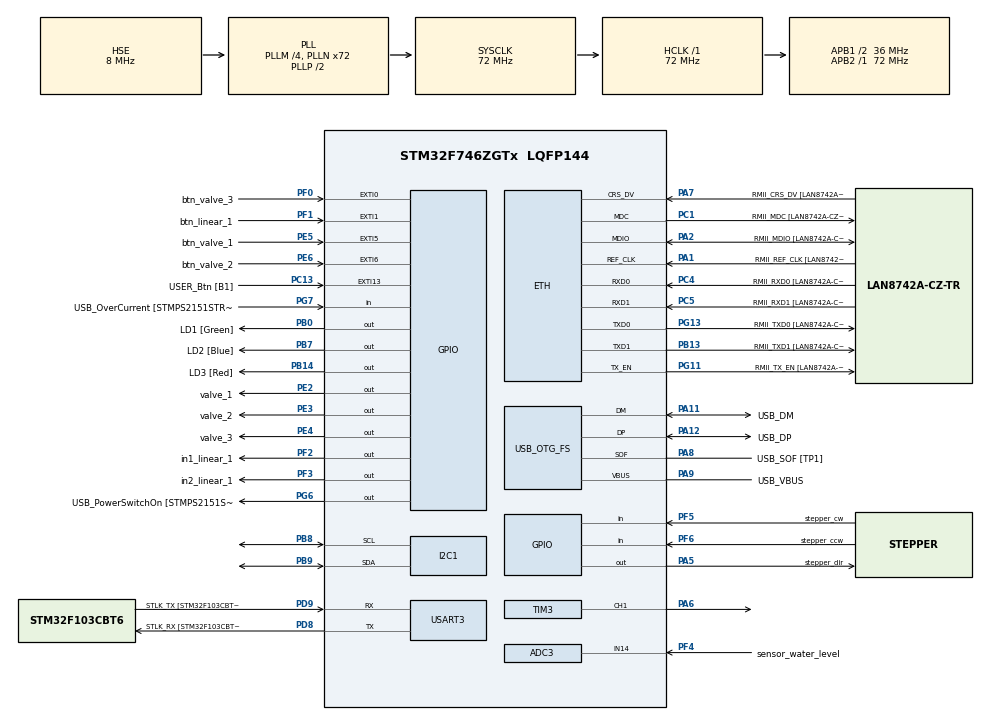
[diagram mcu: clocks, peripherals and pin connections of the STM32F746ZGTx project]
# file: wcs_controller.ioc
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ADC3.Channel-0\#ChannelRegularConversion=ADC_CHANNEL_14
ADC3.EnableAnalogWatchDog=false
ADC3.NbrOfConversionFlag=1
ADC3.Rank-0\#ChannelRegularConversion=1
ADC3.SamplingTime-0\#ChannelRegularConversion=ADC_SAMPLETIME_480CYCLES
CORTEX_M7.default_mode_Activation=1
ETH.MediaInterface=HAL_ETH_RMII_MODE
ETH.PHY_Name=LAN8742A_PHY_ADDRESS
ETH.PHY_Value=0
ETH.PhyAddress=0
I2C1.Timing=0x00808CD2
Mcu.Family=STM32F7
Mcu.Name=STM32F746ZGTx
Mcu.Package=LQFP144
NVIC.EXTI0_IRQn=true\:0\:0\:false\:false\:true\:true\:true\:true
NVIC.EXTI1_IRQn=true\:0\:0\:false\:false\:true\:true\:true\:true
NVIC.EXTI9_5_IRQn=true\:0\:0\:false\:false\:true\:true\:true\:true
NVIC.PriorityGroup=NVIC_PRIORITYGROUP_4
NVIC.TIM3_IRQn=true\:0\:0\:false\:false\:true\:true\:true\:true
PA1.GPIO_Label=RMII_REF_CLK [LAN8742A-CZ-TR_REFCLK0]
PA1.Mode=RMII
PA1.Signal=ETH_REF_CLK
PA10.GPIO_Label=USB_ID
PA10.Signal=USB_OTG_FS_ID
PA11.GPIO_Label=USB_DM
PA11.Mode=Device_Only
PA11.Signal=USB_OTG_FS_DM
PA12.GPIO_Label=USB_DP
PA12.Mode=Device_Only
PA12.Signal=USB_OTG_FS_DP
PA13.GPIO_Label=TMS
PA13.Mode=Serial_Wire
PA13.Signal=SYS_JTMS-SWDIO
PA14.GPIO_Label=TCK
PA14.Mode=Serial_Wire
PA14.Signal=SYS_JTCK-SWCLK
PA2.GPIO_Label=RMII_MDIO [LAN8742A-CZ-TR_MDIO]
PA2.Mode=RMII
PA2.Signal=ETH_MDIO
PA5.GPIO_Label=stepper_dir
PA5.Signal=GPIO_Output
PA6.Signal=S_TIM3_CH1
PA7.GPIO_Label=RMII_CRS_DV [LAN8742A-CZ-TR_CRS_DV]
PA7.Mode=RMII
PA7.Signal=ETH_CRS_DV
PA8.GPIO_Label=USB_SOF [TP1]
PA8.Mode=Activate_SOF_FS
PA8.Signal=USB_OTG_FS_SOF
PA9.GPIO_Label=USB_VBUS
PA9.Mode=Activate_VBUS
PA9.Signal=USB_OTG_FS_VBUS
PB0.GPIO_Label=LD1 [Green]
PB0.Signal=GPIO_Output
PB13.GPIO_Label=RMII_TXD1 [LAN8742A-CZ-TR_TXD1]
PB13.Mode=RMII
PB13.Signal=ETH_TXD1
PB14.GPIO_Label=LD3 [Red]
PB14.PinState=GPIO_PIN_RESET
PB14.Signal=GPIO_Output
PB3.GPIO_Label=SW0
PB3.Signal=SYS_JTDO-SWO
PB7.GPIO_Label=LD2 [Blue]
PB7.Signal=GPIO_Output
PB8.Mode=I2C
PB8.Signal=I2C1_SCL
PB9.Mode=I2C
PB9.Signal=I2C1_SDA
PC1.GPIO_Label=RMII_MDC [LAN8742A-CZ-TR_MDC]
PC1.Mode=RMII
PC1.Signal=ETH_MDC
PC13.GPIO_Label=USER_Btn [B1]
PC13.Signal=GPXTI13
PC14/OSC32_IN.Mode=LSE-External-Oscillator
PC14/OSC32_IN.Signal=RCC_OSC32_IN
PC15/OSC32_OUT.Mode=LSE-External-Oscillator
PC15/OSC32_OUT.Signal=RCC_OSC32_OUT
PC4.GPIO_Label=RMII_RXD0 [LAN8742A-CZ-TR_RXD0]
PC4.Mode=RMII
PC4.Signal=ETH_RXD0
PC5.GPIO_Label=RMII_RXD1 [LAN8742A-CZ-TR_RXD1]
PC5.Mode=RMII
PC5.Signal=ETH_RXD1
PD8.GPIO_Label=STLK_RX [STM32F103CBT6_PA3]
PD8.GPIO_PuPd=GPIO_PULLUP
PD8.Mode=Asynchronous
PD8.Signal=USART3_TX
PD9.GPIO_Label=STLK_TX [STM32F103CBT6_PA2]
PD9.GPIO_PuPd=GPIO_PULLUP
PD9.Mode=Asynchronous
PD9.Signal=USART3_RX
PE2.GPIO_Label=valve_1
PE2.GPIO_PuPd=GPIO_PULLDOWN
PE2.Signal=GPIO_Output
PE3.GPIO_Label=valve_2
PE3.GPIO_PuPd=GPIO_PULLDOWN
PE3.Signal=GPIO_Output
PE4.GPIO_Label=valve_3
PE4.GPIO_PuPd=GPIO_PULLDOWN
PE4.Signal=GPIO_Output
PE5.GPIO_Label=btn_valve_1
PE5.GPIO_ModeDefaultEXTI=GPIO_MODE_IT_RISING_FALLING
PE5.GPIO_PuPd=GPIO_PULLDOWN
PE5.Signal=GPXTI5
PE6.GPIO_Label=btn_valve_2
PE6.GPIO_ModeDefaultEXTI=GPIO_MODE_IT_RISING_FALLING
PE6.GPIO_PuPd=GPIO_PULLDOWN
PE6.Signal=GPXTI6
PF0.GPIO_Label=btn_valve_3
PF0.GPIO_ModeDefaultEXTI=GPIO_MODE_IT_RISING_FALLING
PF0.GPIO_PuPd=GPIO_PULLDOWN
PF0.Signal=GPXTI0
PF1.GPIO_Label=btn_linear_1
PF1.GPIO_ModeDefaultEXTI=GPIO_MODE_IT_RISING_FALLING
PF1.GPIO_PuPd=GPIO_PULLDOWN
PF1.Signal=GPXTI1
PF2.GPIO_Label=in1_linear_1
PF2.GPIO_PuPd=GPIO_PULLDOWN
PF2.Signal=GPIO_Output
PF3.GPIO_Label=in2_linear_1
PF3.GPIO_PuPd=GPIO_PULLDOWN
PF3.Signal=GPIO_Output
PF4.GPIO_Label=sensor_water_level
PF4.Mode=IN14
PF4.Signal=ADC3_IN14
PF5.GPIO_Label=stepper_cw
PF5.GPIO_PuPd=GPIO_PULLDOWN
PF5.Signal=GPIO_Input
PF6.GPIO_Label=stepper_ccw
PF6.GPIO_PuPd=GPIO_PULLDOWN
PF6.Signal=GPIO_Input
PG11.GPIO_Label=RMII_TX_EN [LAN8742A-CZ-TR_TXEN]
PG11.Mode=RMII
PG11.Signal=ETH_TX_EN
PG13.GPIO_Label=RMII_TXD0 [LAN8742A-CZ-TR_TXD0]
PG13.Mode=RMII
PG13.Signal=ETH_TXD0
PG6.GPIO_Label=USB_PowerSwitchOn [STMPS2151STR_EN]
PG6.Signal=GPIO_Output
PG7.GPIO_Label=USB_OverCurrent [STMPS2151STR_FAULT]
PG7.Signal=GPIO_Input
PH0/OSC_IN.GPIO_Label=MCO [STM32F103CBT6_PA8]
PH0/OSC_IN.Mode=HSE-External-Clock-Source
PH0/OSC_IN.Signal=RCC_OSC_IN
PH1/OSC_OUT.Mode=HSE-External-Clock-Source
PH1/OSC_OUT.Signal=RCC_OSC_OUT
ProjectManager.HeapSize=0x200
ProjectManager.StackSize=0x400
ProjectManager.TargetToolchain=CMake
RCC.48MHZClocksFreq_Value=24000000
RCC.AHBFreq_Value=72000000
RCC.APB1CLKDivider=RCC_HCLK_DIV2
RCC.APB1Freq_Value=36000000
RCC.APB1TimFreq_Value=72000000
RCC.APB2Freq_Value=72000000
RCC.APB2TimFreq_Value=72000000
RCC.CortexFreq_Value=72000000
RCC.HCLKFreq_Value=72000000
RCC.HSE_VALUE=8000000
RCC.HSI_VALUE=16000000
RCC.PLLM=4
RCC.PLLMUL=RCC_PLL_MUL9
RCC.PLLN=72
RCC.PLLQ=3
RCC.PRESCALERUSB=RCC_USBCLKSOURCE_PLL_DIV1_5
RCC.SYSCLKFreq_VALUE=72000000
RCC.SYSCLKSource=RCC_SYSCLKSOURCE_PLLCLK
RCC.SYSCLKSourceVirtual=RCC_SYSCLKSOURCE_PLLCLK
RCC.USBFreq_Value=48000000
RCC.VCOOutputFreq_Value=144000000
SH.S_TIM3_CH1.0=TIM3_CH1,PWM Generation1 CH1
TIM3.Channel-PWM\ Generation1\ CH1=TIM_CHANNEL_1
TIM3.OCPolarity_1=TIM_OCPOLARITY_HIGH
TIM3.Period=9999
TIM3.Prescaler=71
TIM3.Pulse-PWM\ Generation1\ CH1=10
USART3.VirtualMode-Asynchronous=VM_ASYNC
USB_OTG_FS.VirtualMode=Device_Only
VP_TIM3_VS_ClockSourceINT.Mode=Internal
board=NUCLEO-F746ZG

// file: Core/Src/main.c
/* USER CODE BEGIN Header */
/**
  ******************************************************************************
  * @file           : main.c
  * @brief          : Main program body
  ******************************************************************************
  * @attention
  *
  * Copyright (c) 2026 STMicroelectronics.
  * All rights reserved.
  *
  * This software is licensed under terms that can be found in the LICENSE file
  * in the root directory of this software component.
  * If no LICENSE file comes with this software, it is provided AS-IS.
  *
  ******************************************************************************
  */
/* USER CODE END Header */
#include "main.h"
#include "string.h"

/* USER CODE BEGIN Includes */
#include "actuators/valve_controller.h"
#include "actuators/linear_actuator_controller.h"
#include "actuators/linear_actuator_manual_control.h"
#include "fw_version.h"
#include "peripherals/water_sensor.h"
#include "peripherals/water_sensor_adc.h"
#include "peripherals/water_sensor_telemetry.h"
#include "actuators/stepper_controller.h"
#include "actuators/stepper_button_control.h"
/* USER CODE END Includes */

/* USER CODE BEGIN PTD */
typedef struct
{
  GPIO_TypeDef *input_port;
  uint16_t input_pin;
  ValveId valve;
  volatile GPIO_PinState candidate;
  GPIO_PinState stable;
  volatile uint32_t changed_at;
  volatile uint32_t pending;
} ValveSwitch;
/* USER CODE END PTD */

/* USER CODE BEGIN PD */
#define VALVE_DEBOUNCE_MS 30U
#define LED_INTERVAL_MS 250U
/* USER CODE END PD */

#if defined ( __ICCARM__ ) /*!< IAR Compiler */
#pragma location=0x2004c000
ETH_DMADescTypeDef  DMARxDscrTab[ETH_RX_DESC_CNT]; /* Ethernet Rx DMA Descriptors */
#pragma location=0x2004c0a0
ETH_DMADescTypeDef  DMATxDscrTab[ETH_TX_DESC_CNT]; /* Ethernet Tx DMA Descriptors */

#elif defined ( __CC_ARM )  /* MDK ARM Compiler */

__attribute__((at(0x2004c000))) ETH_DMADescTypeDef  DMARxDscrTab[ETH_RX_DESC_CNT]; /* Ethernet Rx DMA Descriptors */
__attribute__((at(0x2004c0a0))) ETH_DMADescTypeDef  DMATxDscrTab[ETH_TX_DESC_CNT]; /* Ethernet Tx DMA Descriptors */

#elif defined ( __GNUC__ ) /* GNU Compiler */

ETH_DMADescTypeDef DMARxDscrTab[ETH_RX_DESC_CNT] __attribute__((section(".RxDecripSection"))); /* Ethernet Rx DMA Descriptors */
ETH_DMADescTypeDef DMATxDscrTab[ETH_TX_DESC_CNT] __attribute__((section(".TxDecripSection")));   /* Ethernet Tx DMA Descriptors */
#endif

ETH_TxPacketConfig TxConfig;

ADC_HandleTypeDef hadc3;

ETH_HandleTypeDef heth;

I2C_HandleTypeDef hi2c1;

TIM_HandleTypeDef htim3;

UART_HandleTypeDef huart3;

PCD_HandleTypeDef hpcd_USB_OTG_FS;

/* USER CODE BEGIN PV */
static ValveSwitch valve_switches[] =
{
  {btn_valve_1_GPIO_Port, btn_valve_1_Pin, VALVE_1,
   GPIO_PIN_RESET, GPIO_PIN_RESET, 0U, 0U},
  {btn_valve_2_GPIO_Port, btn_valve_2_Pin, VALVE_2,
   GPIO_PIN_RESET, GPIO_PIN_RESET, 0U, 0U},
  {btn_valve_3_GPIO_Port, btn_valve_3_Pin, VALVE_3,
   GPIO_PIN_RESET, GPIO_PIN_RESET, 0U, 0U}
};
static uint32_t led_changed_at;
static uint32_t water_led_changed_at;
static bool valve1_sequence_active;
/* USER CODE END PV */

void SystemClock_Config(void);
static void MPU_Config(void);
static void MX_GPIO_Init(void);
static void MX_ETH_Init(void);
static void MX_I2C1_Init(void);
static void MX_USART3_UART_Init(void);
static void MX_USB_OTG_FS_PCD_Init(void);
static void MX_ADC3_Init(void);
static void MX_TIM3_Init(void);

/* USER CODE BEGIN 0 */
__attribute__((used)) const char fw_version_banner[] =
    "wcs_controller " FW_VERSION_STRING " (" FW_GIT_COMMIT_STRING ", "
    FW_BUILD_TYPE_STRING ")";

void HAL_TIM_PWM_PulseFinishedCallback(TIM_HandleTypeDef *htim)
{
  if (htim == &htim3)
  {
    Stepper_OnPwmPulse();
  }
}

/* Called by the generated EXTI handlers through the HAL. No delays or relay
 * writes belong here: each edge simply restarts the debounce interval. */
void HAL_GPIO_EXTI_Callback(uint16_t GPIO_Pin)
{
  if (GPIO_Pin == btn_linear_1_Pin)
  {
    LinearActuatorManual_OnEdge(HAL_GPIO_ReadPin(btn_linear_1_GPIO_Port, btn_linear_1_Pin) == GPIO_PIN_SET,
                                HAL_GetTick());
    return;
  }
  for (uint32_t i = 0U; i < sizeof(valve_switches) / sizeof(valve_switches[0]); ++i)
  {
    ValveSwitch *sw = &valve_switches[i];
    if (GPIO_Pin == sw->input_pin)
    {
      sw->candidate = HAL_GPIO_ReadPin(sw->input_port, sw->input_pin);
      sw->changed_at = HAL_GetTick();
      sw->pending = 1U;
      break;
    }
  }
}

static void ValveSwitches_Init(void)
{
  uint32_t interrupt_state = __get_PRIMASK();
  __disable_irq();
  for (uint32_t i = 0U; i < sizeof(valve_switches) / sizeof(valve_switches[0]); ++i)
  {
    ValveSwitch *sw = &valve_switches[i];
    /* Require a debounced LOW before the first rising-edge action. This also
     * prevents an already-ON switch at boot from opening a valve. */
    sw->stable = GPIO_PIN_SET;
    sw->candidate = HAL_GPIO_ReadPin(sw->input_port, sw->input_pin);
    sw->changed_at = HAL_GetTick();
    sw->pending = 1U;
  }
  __set_PRIMASK(interrupt_state);
}

static ValveId ValveSwitches_Update(void)
{
  ValveId started_valve = VALVE_COUNT;
  for (uint32_t i = 0U; i < sizeof(valve_switches) / sizeof(valve_switches[0]); ++i)
  {
    ValveSwitch *sw = &valve_switches[i];
    if (sw->pending == 0U)
    {
      continue;
    }

    /* Protect shared state and output update from a concurrent EXTI callback.
     * Read the tick here so it cannot predate an interrupt's changed_at. */
    uint32_t interrupt_state = __get_PRIMASK();
    __disable_irq();
    uint32_t now = HAL_GetTick();
    if ((sw->pending != 0U) &&
        ((uint32_t)(now - sw->changed_at) >= VALVE_DEBOUNCE_MS))
    {
      GPIO_PinState input = HAL_GPIO_ReadPin(sw->input_port, sw->input_pin);
      /* An edge may be waiting for its ISR while interrupts are masked.
       * Leave it pending for the generated HAL handler to acknowledge. */
      if ((__HAL_GPIO_EXTI_GET_IT(sw->input_pin) != RESET) ||
          (input != sw->candidate))
      {
        sw->candidate = input;
        sw->changed_at = now;
      }
      else
      {
        if (input != sw->stable)
        {
          sw->stable = input;
          if (input == GPIO_PIN_SET)
          {
            if (Valve_StartOperation(sw->valve, now))
            {
              started_valve = sw->valve;
            }
          }
        }
        sw->pending = 0U;
      }
    }
    __set_PRIMASK(interrupt_state);
  }
  return started_valve;
}
/* USER CODE END 0 */

int main(void)
{

  /* MPU Configuration--------------------------------------------------------*/
  MPU_Config();

  /* MCU Configuration--------------------------------------------------------*/

  /* Reset of all peripherals, Initializes the Flash interface and the Systick. */
  HAL_Init();

  /* Configure the system clock */
  SystemClock_Config();

  /* Initialize all configured peripherals */
  MX_GPIO_Init();
  MX_ETH_Init();
  MX_I2C1_Init();
  MX_USART3_UART_Init();
  MX_USB_OTG_FS_PCD_Init();
  MX_ADC3_Init();
  MX_TIM3_Init();
  /* USER CODE BEGIN 2 */
  /* MX_GPIO_Init has already set all valve outputs LOW (CLOSE). */
  Valve_Init();
  ValveSwitches_Init();
  uint32_t interrupt_state = __get_PRIMASK();
  __disable_irq();
  LinearActuator_Init();
  LinearActuatorManual_Init(HAL_GPIO_ReadPin(btn_linear_1_GPIO_Port, btn_linear_1_Pin) == GPIO_PIN_SET,
                            HAL_GetTick());
  __set_PRIMASK(interrupt_state);
  Stepper_Init();
  StepperButtonControl_Init(HAL_GPIO_ReadPin(stepper_cw_GPIO_Port, stepper_cw_Pin) == GPIO_PIN_SET,
                            HAL_GPIO_ReadPin(stepper_ccw_GPIO_Port, stepper_ccw_Pin) == GPIO_PIN_SET,
                            HAL_GetTick());
  WaterSensor_Init(WaterSensorAdc_Read, HAL_GetTick());
  WaterSensorTelemetry_Init(HAL_GetTick());
  led_changed_at = HAL_GetTick();
  water_led_changed_at = led_changed_at;
  /* USER CODE END 2 */

  /* Infinite loop */
  while (1)
  {

    /* USER CODE BEGIN 3 */
    uint32_t now = HAL_GetTick();
    WaterSensor_Update(now);
    now = HAL_GetTick();
    WaterSensorTelemetry_Update(now);
    LinearActuator_Update(HAL_GetTick());
    uint32_t interrupt_state = __get_PRIMASK();
    __disable_irq();
    LinearActuatorManual_Update(HAL_GPIO_ReadPin(btn_linear_1_GPIO_Port, btn_linear_1_Pin) == GPIO_PIN_SET,
                                HAL_GetTick(), __HAL_GPIO_EXTI_GET_IT(btn_linear_1_Pin) != RESET);
    __set_PRIMASK(interrupt_state);
    StepperButtonControl_Update(HAL_GPIO_ReadPin(stepper_cw_GPIO_Port, stepper_cw_Pin) == GPIO_PIN_SET,
                                HAL_GPIO_ReadPin(stepper_ccw_GPIO_Port, stepper_ccw_Pin) == GPIO_PIN_SET,
                                HAL_GetTick());
    /* End a valve lockout before accepting a new button press at its boundary. */
    Valve_Update(now);
    if (Valve_GetActiveValve() == VALVE_1 &&
        WaterSensor_GetSignalPercent() >= 100U)
    {
      Valve_RequestClose(VALVE_1, now);
    }
    ValveId started_valve = ValveSwitches_Update();
    if (started_valve == VALVE_1)
    {
      valve1_sequence_active = true;
    }
    if (valve1_sequence_active && !Valve_IsBusy())
    {
      if (Valve_StartOperation(VALVE_2, now))
      {
        valve1_sequence_active = false;
      }
    }
    now = HAL_GetTick();

    /* Blink LD1 only while the valve is closing. */
    if (Valve_IsClosing())
    {
      if ((uint32_t)(now - led_changed_at) >= LED_INTERVAL_MS)
      {
        led_changed_at = now;
        HAL_GPIO_TogglePin(LD1_GPIO_Port, LD1_Pin);
      }
    }
    else
    {
      HAL_GPIO_WritePin(LD1_GPIO_Port, LD1_Pin, GPIO_PIN_RESET);
      led_changed_at = now;
    }

    if (WaterSensor_IsDetected())
    {
      if ((uint32_t)(now - water_led_changed_at) >= LED_INTERVAL_MS)
      {
        water_led_changed_at = now;
        HAL_GPIO_TogglePin(LD2_GPIO_Port, LD2_Pin);
      }
    }
    else
    {
      HAL_GPIO_WritePin(LD2_GPIO_Port, LD2_Pin, GPIO_PIN_RESET);
      water_led_changed_at = now;
    }
  }
  /* USER CODE END 3 */
}

void SystemClock_Config(void)
{
  RCC_OscInitTypeDef RCC_OscInitStruct = {0};
  RCC_ClkInitTypeDef RCC_ClkInitStruct = {0};

  /** Configure LSE Drive Capability
  */
  HAL_PWR_EnableBkUpAccess();

  /** Configure the main internal regulator output voltage
  */
  __HAL_RCC_PWR_CLK_ENABLE();
  __HAL_PWR_VOLTAGESCALING_CONFIG(PWR_REGULATOR_VOLTAGE_SCALE3);

  /** Initializes the RCC Oscillators according to the specified parameters
  * in the RCC_OscInitTypeDef structure.
  */
  RCC_OscInitStruct.OscillatorType = RCC_OSCILLATORTYPE_HSE;
  RCC_OscInitStruct.HSEState = RCC_HSE_BYPASS;
  RCC_OscInitStruct.PLL.PLLState = RCC_PLL_ON;
  RCC_OscInitStruct.PLL.PLLSource = RCC_PLLSOURCE_HSE;
  RCC_OscInitStruct.PLL.PLLM = 4;
  RCC_OscInitStruct.PLL.PLLN = 72;
  RCC_OscInitStruct.PLL.PLLP = RCC_PLLP_DIV2;
  RCC_OscInitStruct.PLL.PLLQ = 3;
  if (HAL_RCC_OscConfig(&RCC_OscInitStruct) != HAL_OK)
  {
    Error_Handler();
  }

  /** Initializes the CPU, AHB and APB buses clocks
  */
  RCC_ClkInitStruct.ClockType = RCC_CLOCKTYPE_HCLK|RCC_CLOCKTYPE_SYSCLK
                              |RCC_CLOCKTYPE_PCLK1|RCC_CLOCKTYPE_PCLK2;
  RCC_ClkInitStruct.SYSCLKSource = RCC_SYSCLKSOURCE_PLLCLK;
  RCC_ClkInitStruct.AHBCLKDivider = RCC_SYSCLK_DIV1;
  RCC_ClkInitStruct.APB1CLKDivider = RCC_HCLK_DIV2;
  RCC_ClkInitStruct.APB2CLKDivider = RCC_HCLK_DIV1;

  if (HAL_RCC_ClockConfig(&RCC_ClkInitStruct, FLASH_LATENCY_2) != HAL_OK)
  {
    Error_Handler();
  }
}

static void MX_ADC3_Init(void)
{

  ADC_ChannelConfTypeDef sConfig = {0};

  /** Configure the global features of the ADC (Clock, Resolution, Data Alignment and number of conversion)
  */
  hadc3.Instance = ADC3;
  hadc3.Init.ClockPrescaler = ADC_CLOCK_SYNC_PCLK_DIV2;
  hadc3.Init.Resolution = ADC_RESOLUTION_12B;
  hadc3.Init.ScanConvMode = ADC_SCAN_DISABLE;
  hadc3.Init.ContinuousConvMode = DISABLE;
  hadc3.Init.DiscontinuousConvMode = DISABLE;
  hadc3.Init.ExternalTrigConvEdge = ADC_EXTERNALTRIGCONVEDGE_NONE;
  hadc3.Init.ExternalTrigConv = ADC_SOFTWARE_START;
  hadc3.Init.DataAlign = ADC_DATAALIGN_RIGHT;
  hadc3.Init.NbrOfConversion = 1;
  hadc3.Init.DMAContinuousRequests = DISABLE;
  hadc3.Init.EOCSelection = ADC_EOC_SINGLE_CONV;
  if (HAL_ADC_Init(&hadc3) != HAL_OK)
  {
    Error_Handler();
  }

  /** Configure for the selected ADC regular channel its corresponding rank in the sequencer and its sample time.
  */
  sConfig.Channel = ADC_CHANNEL_14;
  sConfig.Rank = ADC_REGULAR_RANK_1;
  sConfig.SamplingTime = ADC_SAMPLETIME_480CYCLES;
  if (HAL_ADC_ConfigChannel(&hadc3, &sConfig) != HAL_OK)
  {
    Error_Handler();
  }

}

static void MX_ETH_Init(void)
{

   static uint8_t MACAddr[6];

  heth.Instance = ETH;
  MACAddr[0] = 0x00;
  MACAddr[1] = 0x80;
  MACAddr[2] = 0xE1;
  MACAddr[3] = 0x00;
  MACAddr[4] = 0x00;
  MACAddr[5] = 0x00;
  heth.Init.MACAddr = &MACAddr[0];
  heth.Init.MediaInterface = HAL_ETH_RMII_MODE;
  heth.Init.TxDesc = DMATxDscrTab;
  heth.Init.RxDesc = DMARxDscrTab;
  heth.Init.RxBuffLen = 1524;

  if (HAL_ETH_Init(&heth) != HAL_OK)
  {
    Error_Handler();
  }

  memset(&TxConfig, 0 , sizeof(ETH_TxPacketConfig));
  TxConfig.Attributes = ETH_TX_PACKETS_FEATURES_CSUM | ETH_TX_PACKETS_FEATURES_CRCPAD;
  TxConfig.ChecksumCtrl = ETH_CHECKSUM_IPHDR_PAYLOAD_INSERT_PHDR_CALC;
  TxConfig.CRCPadCtrl = ETH_CRC_PAD_INSERT;

}

static void MX_I2C1_Init(void)
{

  hi2c1.Instance = I2C1;
  hi2c1.Init.Timing = 0x00808CD2;
  hi2c1.Init.OwnAddress1 = 0;
  hi2c1.Init.AddressingMode = I2C_ADDRESSINGMODE_7BIT;
  hi2c1.Init.DualAddressMode = I2C_DUALADDRESS_DISABLE;
  hi2c1.Init.OwnAddress2 = 0;
  hi2c1.Init.OwnAddress2Masks = I2C_OA2_NOMASK;
  hi2c1.Init.GeneralCallMode = I2C_GENERALCALL_DISABLE;
  hi2c1.Init.NoStretchMode = I2C_NOSTRETCH_DISABLE;
  if (HAL_I2C_Init(&hi2c1) != HAL_OK)
  {
    Error_Handler();
  }

  /** Configure Analogue filter
  */
  if (HAL_I2CEx_ConfigAnalogFilter(&hi2c1, I2C_ANALOGFILTER_ENABLE) != HAL_OK)
  {
    Error_Handler();
  }

  /** Configure Digital filter
  */
  if (HAL_I2CEx_ConfigDigitalFilter(&hi2c1, 0) != HAL_OK)
  {
    Error_Handler();
  }

}

static void MX_TIM3_Init(void)
{

  TIM_ClockConfigTypeDef sClockSourceConfig = {0};
  TIM_MasterConfigTypeDef sMasterConfig = {0};
  TIM_OC_InitTypeDef sConfigOC = {0};

  htim3.Instance = TIM3;
  htim3.Init.Prescaler = 71;
  htim3.Init.CounterMode = TIM_COUNTERMODE_UP;
  htim3.Init.Period = 9999;
  htim3.Init.ClockDivision = TIM_CLOCKDIVISION_DIV1;
  htim3.Init.AutoReloadPreload = TIM_AUTORELOAD_PRELOAD_DISABLE;
  if (HAL_TIM_Base_Init(&htim3) != HAL_OK)
  {
    Error_Handler();
  }
  sClockSourceConfig.ClockSource = TIM_CLOCKSOURCE_INTERNAL;
  if (HAL_TIM_ConfigClockSource(&htim3, &sClockSourceConfig) != HAL_OK)
  {
    Error_Handler();
  }
  if (HAL_TIM_PWM_Init(&htim3) != HAL_OK)
  {
    Error_Handler();
  }
  sMasterConfig.MasterOutputTrigger = TIM_TRGO_RESET;
  sMasterConfig.MasterSlaveMode = TIM_MASTERSLAVEMODE_DISABLE;
  if (HAL_TIMEx_MasterConfigSynchronization(&htim3, &sMasterConfig) != HAL_OK)
  {
    Error_Handler();
  }
  sConfigOC.OCMode = TIM_OCMODE_PWM1;
  sConfigOC.Pulse = 10;
  sConfigOC.OCPolarity = TIM_OCPOLARITY_HIGH;
  sConfigOC.OCFastMode = TIM_OCFAST_DISABLE;
  if (HAL_TIM_PWM_ConfigChannel(&htim3, &sConfigOC, TIM_CHANNEL_1) != HAL_OK)
  {
    Error_Handler();
  }
  HAL_TIM_MspPostInit(&htim3);

}

static void MX_USART3_UART_Init(void)
{

  huart3.Instance = USART3;
  huart3.Init.BaudRate = 115200;
  huart3.Init.WordLength = UART_WORDLENGTH_8B;
  huart3.Init.StopBits = UART_STOPBITS_1;
  huart3.Init.Parity = UART_PARITY_NONE;
  huart3.Init.Mode = UART_MODE_TX_RX;
  huart3.Init.HwFlowCtl = UART_HWCONTROL_NONE;
  huart3.Init.OverSampling = UART_OVERSAMPLING_16;
  huart3.Init.OneBitSampling = UART_ONE_BIT_SAMPLE_DISABLE;
  huart3.AdvancedInit.AdvFeatureInit = UART_ADVFEATURE_NO_INIT;
  if (HAL_UART_Init(&huart3) != HAL_OK)
  {
    Error_Handler();
  }

}

static void MX_USB_OTG_FS_PCD_Init(void)
{

  hpcd_USB_OTG_FS.Instance = USB_OTG_FS;
  hpcd_USB_OTG_FS.Init.dev_endpoints = 6;
  hpcd_USB_OTG_FS.Init.speed = PCD_SPEED_FULL;
  hpcd_USB_OTG_FS.Init.dma_enable = DISABLE;
  hpcd_USB_OTG_FS.Init.phy_itface = PCD_PHY_EMBEDDED;
  hpcd_USB_OTG_FS.Init.Sof_enable = ENABLE;
  hpcd_USB_OTG_FS.Init.low_power_enable = DISABLE;
  hpcd_USB_OTG_FS.Init.lpm_enable = DISABLE;
  hpcd_USB_OTG_FS.Init.vbus_sensing_enable = ENABLE;
  hpcd_USB_OTG_FS.Init.use_dedicated_ep1 = DISABLE;
  if (HAL_PCD_Init(&hpcd_USB_OTG_FS) != HAL_OK)
  {
    Error_Handler();
  }

}

static void MX_GPIO_Init(void)
{
  GPIO_InitTypeDef GPIO_InitStruct = {0};

  /* GPIO Ports Clock Enable */
  __HAL_RCC_GPIOE_CLK_ENABLE();
  __HAL_RCC_GPIOC_CLK_ENABLE();
  __HAL_RCC_GPIOF_CLK_ENABLE();
  __HAL_RCC_GPIOH_CLK_ENABLE();
  __HAL_RCC_GPIOA_CLK_ENABLE();
  __HAL_RCC_GPIOB_CLK_ENABLE();
  __HAL_RCC_GPIOD_CLK_ENABLE();
  __HAL_RCC_GPIOG_CLK_ENABLE();

  /*Configure GPIO pin Output Level */
  HAL_GPIO_WritePin(GPIOE, valve_1_Pin|valve_2_Pin|valve_3_Pin, GPIO_PIN_RESET);

  /*Configure GPIO pin Output Level */
  HAL_GPIO_WritePin(GPIOF, in1_linear_1_Pin|in2_linear_1_Pin, GPIO_PIN_RESET);

  /*Configure GPIO pin Output Level */
  HAL_GPIO_WritePin(stepper_dir_GPIO_Port, stepper_dir_Pin, GPIO_PIN_RESET);

  /*Configure GPIO pin Output Level */
  HAL_GPIO_WritePin(GPIOB, LD1_Pin|LD3_Pin|LD2_Pin, GPIO_PIN_RESET);

  /*Configure GPIO pin Output Level */
  HAL_GPIO_WritePin(USB_PowerSwitchOn_GPIO_Port, USB_PowerSwitchOn_Pin, GPIO_PIN_RESET);

  /*Configure GPIO pins : valve_1_Pin valve_2_Pin valve_3_Pin */
  GPIO_InitStruct.Pin = valve_1_Pin|valve_2_Pin|valve_3_Pin;
  GPIO_InitStruct.Mode = GPIO_MODE_OUTPUT_PP;
  GPIO_InitStruct.Pull = GPIO_PULLDOWN;
  GPIO_InitStruct.Speed = GPIO_SPEED_FREQ_LOW;
  HAL_GPIO_Init(GPIOE, &GPIO_InitStruct);

  /*Configure GPIO pins : btn_valve_1_Pin btn_valve_2_Pin */
  GPIO_InitStruct.Pin = btn_valve_1_Pin|btn_valve_2_Pin;
  GPIO_InitStruct.Mode = GPIO_MODE_IT_RISING_FALLING;
  GPIO_InitStruct.Pull = GPIO_PULLDOWN;
  HAL_GPIO_Init(GPIOE, &GPIO_InitStruct);

  /*Configure GPIO pin : USER_Btn_Pin */
  GPIO_InitStruct.Pin = USER_Btn_Pin;
  GPIO_InitStruct.Mode = GPIO_MODE_IT_RISING;
  GPIO_InitStruct.Pull = GPIO_NOPULL;
  HAL_GPIO_Init(USER_Btn_GPIO_Port, &GPIO_InitStruct);

  /*Configure GPIO pins : btn_valve_3_Pin btn_linear_1_Pin */
  GPIO_InitStruct.Pin = btn_valve_3_Pin|btn_linear_1_Pin;
  GPIO_InitStruct.Mode = GPIO_MODE_IT_RISING_FALLING;
  GPIO_InitStruct.Pull = GPIO_PULLDOWN;
  HAL_GPIO_Init(GPIOF, &GPIO_InitStruct);

  /*Configure GPIO pins : in1_linear_1_Pin in2_linear_1_Pin */
  GPIO_InitStruct.Pin = in1_linear_1_Pin|in2_linear_1_Pin;
  GPIO_InitStruct.Mode = GPIO_MODE_OUTPUT_PP;
  GPIO_InitStruct.Pull = GPIO_PULLDOWN;
  GPIO_InitStruct.Speed = GPIO_SPEED_FREQ_LOW;
  HAL_GPIO_Init(GPIOF, &GPIO_InitStruct);

  /*Configure GPIO pins : stepper_cw_Pin stepper_ccw_Pin */
  GPIO_InitStruct.Pin = stepper_cw_Pin|stepper_ccw_Pin;
  GPIO_InitStruct.Mode = GPIO_MODE_INPUT;
  GPIO_InitStruct.Pull = GPIO_PULLDOWN;
  HAL_GPIO_Init(GPIOF, &GPIO_InitStruct);

  /*Configure GPIO pin : stepper_dir_Pin */
  GPIO_InitStruct.Pin = stepper_dir_Pin;
  GPIO_InitStruct.Mode = GPIO_MODE_OUTPUT_PP;
  GPIO_InitStruct.Pull = GPIO_NOPULL;
  GPIO_InitStruct.Speed = GPIO_SPEED_FREQ_LOW;
  HAL_GPIO_Init(stepper_dir_GPIO_Port, &GPIO_InitStruct);

  /*Configure GPIO pins : LD1_Pin LD3_Pin LD2_Pin */
  GPIO_InitStruct.Pin = LD1_Pin|LD3_Pin|LD2_Pin;
  GPIO_InitStruct.Mode = GPIO_MODE_OUTPUT_PP;
  GPIO_InitStruct.Pull = GPIO_NOPULL;
  GPIO_InitStruct.Speed = GPIO_SPEED_FREQ_LOW;
  HAL_GPIO_Init(GPIOB, &GPIO_InitStruct);

  /*Configure GPIO pin : USB_PowerSwitchOn_Pin */
  GPIO_InitStruct.Pin = USB_PowerSwitchOn_Pin;
  GPIO_InitStruct.Mode = GPIO_MODE_OUTPUT_PP;
  GPIO_InitStruct.Pull = GPIO_NOPULL;
  GPIO_InitStruct.Speed = GPIO_SPEED_FREQ_LOW;
  HAL_GPIO_Init(USB_PowerSwitchOn_GPIO_Port, &GPIO_InitStruct);

  /*Configure GPIO pin : USB_OverCurrent_Pin */
  GPIO_InitStruct.Pin = USB_OverCurrent_Pin;
  GPIO_InitStruct.Mode = GPIO_MODE_INPUT;
  GPIO_InitStruct.Pull = GPIO_NOPULL;
  HAL_GPIO_Init(USB_OverCurrent_GPIO_Port, &GPIO_InitStruct);

  /* EXTI interrupt init*/
  HAL_NVIC_SetPriority(EXTI0_IRQn, 0, 0);
  HAL_NVIC_EnableIRQ(EXTI0_IRQn);

  HAL_NVIC_SetPriority(EXTI1_IRQn, 0, 0);
  HAL_NVIC_EnableIRQ(EXTI1_IRQn);

  HAL_NVIC_SetPriority(EXTI9_5_IRQn, 0, 0);
  HAL_NVIC_EnableIRQ(EXTI9_5_IRQn);

}

 /* MPU Configuration */

void MPU_Config(void)
{
  MPU_Region_InitTypeDef MPU_InitStruct = {0};

  /* Disables the MPU */
  HAL_MPU_Disable();

  /** Initializes and configures the Region and the memory to be protected
  */
  MPU_InitStruct.Enable = MPU_REGION_ENABLE;
  MPU_InitStruct.Number = MPU_REGION_NUMBER0;
  MPU_InitStruct.BaseAddress = 0x0;
  MPU_InitStruct.Size = MPU_REGION_SIZE_4GB;
  MPU_InitStruct.SubRegionDisable = 0x87;
  MPU_InitStruct.TypeExtField = MPU_TEX_LEVEL0;
  MPU_InitStruct.AccessPermission = MPU_REGION_NO_ACCESS;
  MPU_InitStruct.DisableExec = MPU_INSTRUCTION_ACCESS_DISABLE;
  MPU_InitStruct.IsShareable = MPU_ACCESS_SHAREABLE;
  MPU_InitStruct.IsCacheable = MPU_ACCESS_NOT_CACHEABLE;
  MPU_InitStruct.IsBufferable = MPU_ACCESS_NOT_BUFFERABLE;

  HAL_MPU_ConfigRegion(&MPU_InitStruct);
  /* Enables the MPU */
  HAL_MPU_Enable(MPU_PRIVILEGED_DEFAULT);

}

void Error_Handler(void)
{
  __disable_irq();
  while (1)
  {
  }
}
